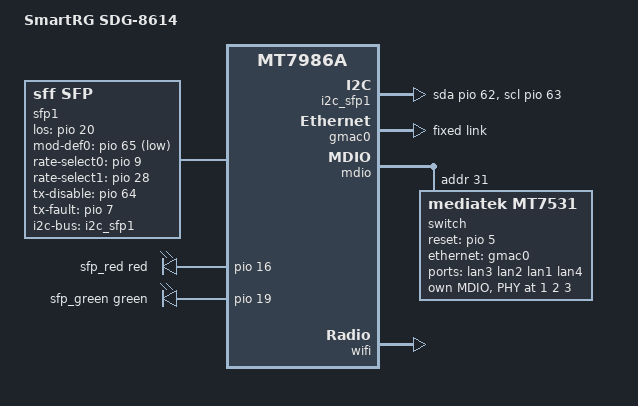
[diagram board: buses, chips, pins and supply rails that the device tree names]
// SPDX-License-Identifier: (GPL-2.0 OR MIT)
/*
 * Copyright (C) 2022 SmartRG Inc.
 * Author: Chad Monroe <chad.monroe@smartrg.com>
 */

#include "mt7986a-smartrg-bonanza-peak.dtsi"
#include "mt7986a-smartrg-SDG-861x-power-limits-r1-RCM-AU-NZ.dtsi"
#include "mt7986a-smartrg-SDG-861x-power-limits-r2-IC-CA.dtsi"
#include "mt7986a-smartrg-SDG-861x-power-limits-r3-ETSI-GB.dtsi"
#include "mt7986a-smartrg-SDG-861x-power-limits-r4-ETSI.dtsi"
#include "mt7986a-smartrg-SDG-861x-power-limits-r5-FCC-US.dtsi"

/ {
	model = "SmartRG SDG-8614";
	compatible = "smartrg,sdg-8614", "mediatek,mt7986a";

	/* SFP1 cage (WAN) */
	i2c_sfp1: i2c-gpio-0 {
		compatible = "i2c-gpio";
		sda-gpios = <&pio 62 (GPIO_ACTIVE_HIGH | GPIO_OPEN_DRAIN)>;
		scl-gpios = <&pio 63 (GPIO_ACTIVE_HIGH | GPIO_OPEN_DRAIN)>;
		i2c-gpio,delay-us = <2>;
		#address-cells = <1>;
		#size-cells = <0>;
	};

	sfp1: sfp1 {
		compatible = "sff,sfp";
		i2c-bus = <&i2c_sfp1>;
		los-gpios = <&pio 20 GPIO_ACTIVE_HIGH>;
		mod-def0-gpios = <&pio 65 GPIO_ACTIVE_LOW>;
		rate-select0-gpios = <&pio 9 GPIO_ACTIVE_HIGH>;
		rate-select1-gpios = <&pio 28 GPIO_ACTIVE_HIGH>;
		tx-disable-gpios = <&pio 64 GPIO_ACTIVE_HIGH>;
		tx-fault-gpios = <&pio 7 GPIO_ACTIVE_HIGH>;
		maximum-power-milliwatt = <3000>;
	};
};

&leds {
	sfp_red {
		color = <LED_COLOR_ID_RED>;
		function = "sfp";
		gpios = <&pio 16 GPIO_ACTIVE_HIGH>;
	};

	sfp_green {
		color = <LED_COLOR_ID_GREEN>;
		function = "sfp";
		gpios = <&pio 19 GPIO_ACTIVE_HIGH>;
	};
};

&mux_sel {
	output-low;
	/delete-node/ output-high;
};

&gmac0 {
	fixed-link {
		speed = <2500>;
		full-duplex;
		pause;
	};
};

&gmac1 {
	sfp = <&sfp1>;
	managed = "in-band-status";
};

&mdio {
	switch: switch@1f {
		compatible = "mediatek,mt7531";
		reg = <0x1f>;
		reset-gpios = <&pio 5 GPIO_ACTIVE_HIGH>;

		mdio {
			#address-cells = <1>;
			#size-cells = <0>;

			swphy1: phy@1 {
				reg = <1>;
				mediatek,led-config = <
					0x21 0x8009 /* BASIC_CTRL */
					0x22 0x0000 /* ON_DURATION */
					0x23 0x0000 /* BLINK_DURATION */
					0x24 0xc001 /* LED0_ON_CTRL */
					0x25 0x0000 /* LED0_BLINK_CTRL */
					0x26 0xc006 /* LED1_ON_CTRL */
					0x27 0x0000 /* LED1_BLINK_CTRL */
				>;
			};

			swphy2: phy@2 {
				reg = <2>;
				mediatek,led-config = <
					0x21 0x8009 /* BASIC_CTRL */
					0x22 0x0000 /* ON_DURATION */
					0x23 0x0000 /* BLINK_DURATION */
					0x24 0xc001 /* LED0_ON_CTRL */
					0x25 0x0000 /* LED0_BLINK_CTRL */
					0x26 0xc006 /* LED1_ON_CTRL */
					0x27 0x0000 /* LED1_BLINK_CTRL */
				>;
			};

			swphy3: phy@3 {
				reg = <3>;
				mediatek,led-config = <
					0x21 0x8009 /* BASIC_CTRL */
					0x22 0x0000 /* ON_DURATION */
					0x23 0x0000 /* BLINK_DURATION */
					0x24 0xc001 /* LED0_ON_CTRL */
					0x25 0x0000 /* LED0_BLINK_CTRL */
					0x26 0xc006 /* LED1_ON_CTRL */
					0x27 0x0000 /* LED1_BLINK_CTRL */
				>;
			};
		};

		ports {
			#address-cells = <1>;
			#size-cells = <0>;

			port@1 {
				reg = <1>;
				label = "lan3";
				phy-handle = <&swphy1>;
			};

			port@2 {
				reg = <2>;
				label = "lan2";
				phy-handle = <&swphy2>;
			};

			port@3 {
				reg = <3>;
				label = "lan1";
				phy-handle = <&swphy3>;
			};

			port5: port@5 {
				reg = <5>;
				label = "lan4";

				phy-mode = "2500base-x";
				phy-handle = <&phy5>;
			};

			port@6 {
				reg = <6>;
				ethernet = <&gmac0>;
				phy-mode = "2500base-x";

				fixed-link {
					speed = <2500>;
					full-duplex;
					pause;
				};
			};
		};
	};
};

&wifi {
	ieee80211-freq-limit = <2400000 2500000>, <5170000 5835000>;
};
